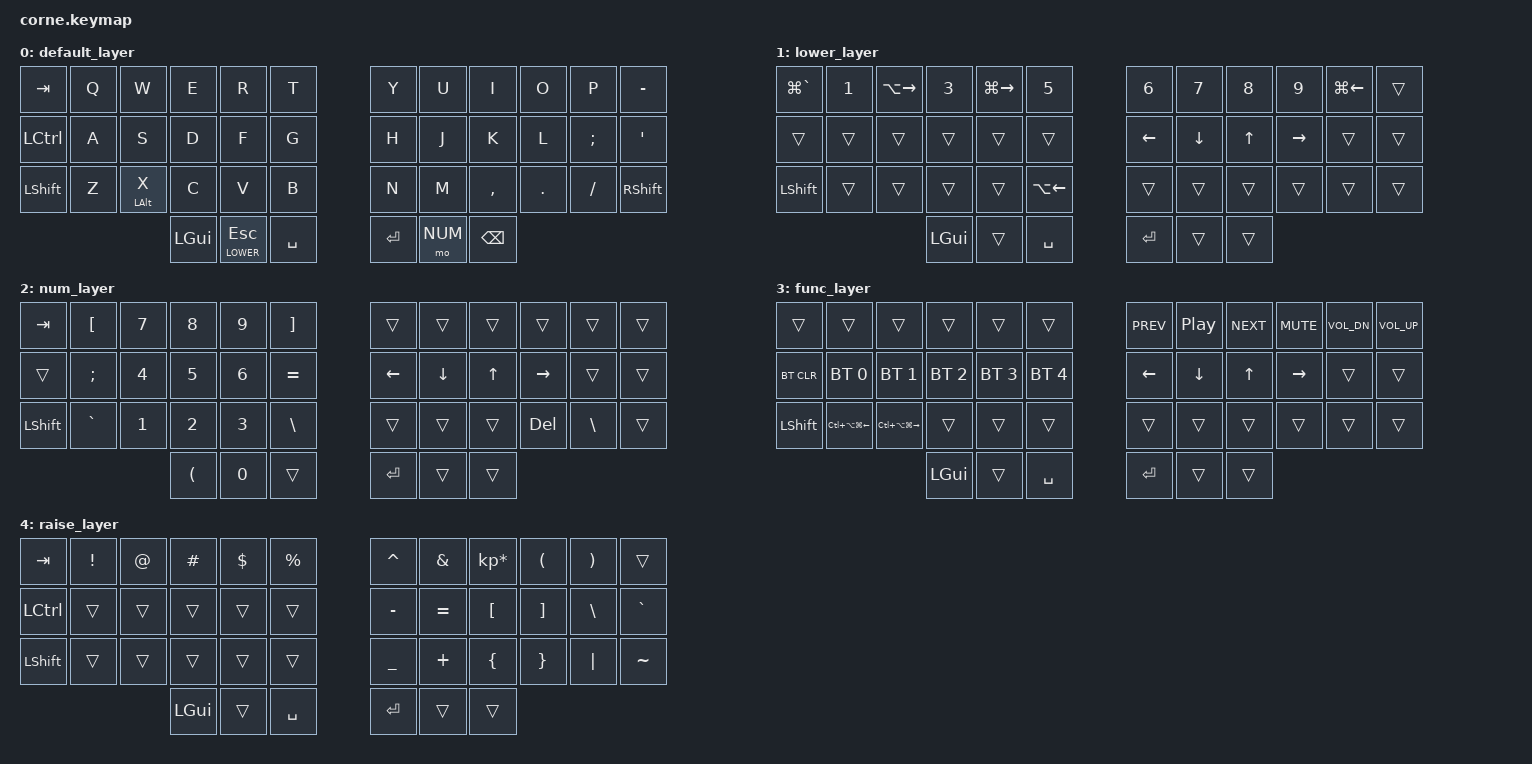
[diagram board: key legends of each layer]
/*
 * Copyright (c) 2020 The ZMK Contributors
 *
 * SPDX-License-Identifier: MIT
 */

#include <behaviors.dtsi>
#include <dt-bindings/zmk/keys.h>
#include <dt-bindings/zmk/bt.h>

#define LOWER 1
#define NUM 2
#define FUNC 3
#define RAISE 4 // RAISE currently unused

/ {
        conditional_layers {
                compatible = "zmk,conditional-layers";
                tri_layer {
                        if-layers = <1 2>;
                        then-layer = <3>;
                };
        };

        keymap {
                compatible = "zmk,keymap";

                default_layer {
// -----------------------------------------------------------------------------------------
// |  TAB |  Q  |  W  |  E  |  R  |  T  |   |  Y  |  U   |  I  |  O  |  P  |  -   |
// | CTRL |  A  |  S  |  D  |  F  |  G  |   |  H  |  J   |  K  |  L  |  ;  |  '   |
// | SHFT |  Z  |ALT/X|  C  |  V  |  B  |   |  N  |  M   |  ,  |  .  |  /  | ESC  |
//                    | GUI | LWR | SPC |   | ENT | RSE  | ALT |
                        bindings = <
   &kp TAB       &kp Q         &kp W         &kp E         &kp R         &kp T         &kp Y         &kp U         &kp I         &kp O         &kp P         &kp MINUS     
   &kp LCTRL     &kp A         &kp S         &kp D         &kp F         &kp G         &kp H         &kp J         &kp K         &kp L         &kp SEMI      &kp SQT       
   &kp LSHFT     &kp Z         &mt LALT X    &kp C         &kp V         &kp B         &kp N         &kp M         &kp COMMA     &kp DOT       &kp FSLH      &kp RSHFT     
                                             &kp LGUI      &lt LOWER ESC &kp SPACE     &kp RET       &mo NUM       &kp BSPC      
                        >;
                };
                lower_layer {
// -----------------------------------------------------------------------------------------
// |LG+GRV|  1  |VIM_W|  3  |VIM_$|  5  |   |  6  |  7  |  8  |  9  |VIM_0|      |
// |      |     |     |     |     |     |   | LFT | DWN |  UP | RGT |     |      |
// | SHFT |     |     |     |     |VIM_B|   |     |     |     |     |     |      |
//                    | GUI |     | SPC |   | ENT |     | ALT |
                        bindings = <
   &kp LG(GRAVE) &kp N1    &kp LA(RIGHT) &kp N3     &kp LG(RIGHT) &kp N5        &kp N6       &kp N7     &kp N8       &kp N9       &kp LG(LEFT) &trans
   &trans        &trans    &trans        &trans     &trans        &trans        &kp LEFT     &kp DOWN   &kp UP       &kp RIGHT    &trans       &trans
   &kp LSHFT     &trans    &trans        &trans     &trans        &kp LA(LEFT)  &trans       &trans     &trans       &trans       &trans       &trans
                                         &kp LGUI   &trans        &kp SPACE     &kp RET      &trans     &trans
                        >;
                };

                num_layer {
// -----------------------------------------------------------------------------------------
// |  TAB |  [  |  7  |  8  |  9  |  ]  |||||     |     |     |     |     |      |
// | CTRL |  ;  |  4  |  5  |  6  |  =  ||||| LFT | DWN |  UP | RGT |     |      |
// | SHFT |  `  |  1  |  2  |  3  |  \  |||||     |     |     | DEL |  \  |      |
//                    |  (  |  0  |  -  ||||| ENT |     |     |
                        bindings = <
   &kp TAB    &kp LBKT  &kp N7    &kp N8      &kp N9    &kp RBKT   /**/    &trans        &trans     &trans    &trans     &trans    &trans
   &trans     &kp SEMI  &kp N4    &kp N5      &kp N6    &kp EQUAL  /**/    &kp LEFT      &kp DOWN   &kp UP    &kp RIGHT  &trans    &trans
   &kp LSHFT  &kp GRAVE &kp N1    &kp N2      &kp N3    &kp BSLH   /**/    &trans        &trans     &trans    &kp DEL    &kp BSLH  &trans
                                  &kp LPAR    &kp N0    &trans     /**/    &kp RET       &trans     &trans
                        >;
                };

                func_layer {
// -----------------------------------------------------------------------------------------
// |      |     |     |     |     |     |   | PREV|PAUSE| NEXT| MUTE|VOLDN| VOLUP|
// | BTCLR| BT1 | BT2 | BT3 | BT4 | BT5 |   | LFT | DWN |  UP | RGT |     |      |
// | SHFT |     |     |     |     |     |   |     |     |     |     |     |      |
//                    | GUI |     | SPC |   | ENT |     | ALT |
                        bindings = <
   &trans       &trans       &trans        &trans        &trans        &trans        &kp C_PREV   &kp C_PP   &kp C_NEXT &kp C_MUTE &kp C_VOL_DN &kp C_VOL_UP
   &bt BT_CLR   &bt BT_SEL 0 &bt BT_SEL 1  &bt BT_SEL 2  &bt BT_SEL 3  &bt BT_SEL 4  &kp LEFT     &kp DOWN   &kp UP     &kp RIGHT  &trans       &trans
   &kp LSHFT    &kp LC(LA(LG(LEFT)))       &kp LC(LA(LG(RIGHT)))        &trans        &trans        &trans        &trans       &trans     &trans     &trans     &trans       &trans
                                           &kp LGUI      &trans        &kp SPACE     &kp RET      &trans     &trans
                        >;
                };

                raise_layer {
// -----------------------------------------------------------------------------------------
// |  TAB |  !  |  @  |  #  |  $  |  %  |   |  ^  |  &  |  *  |  (  |  )  |      |
// | CTRL |     |     |     |     |     |   |  -  |  =  |  [  |  ]  |  \  |  `   |
// | SHFT |     |     |     |     |     |   |  _  |  +  |  {  |  }  | "|" |  ~   |
//                    | GUI |     | SPC |   | ENT |     | ALT |
                        bindings = <
   &kp  TAB  &kp EXCL &kp AT &kp HASH &kp DLLR &kp PRCNT   &kp CARET &kp AMPS  &kp KP_MULTIPLY &kp LPAR &kp RPAR &trans
   &kp LCTRL &trans   &trans &trans   &trans   &trans      &kp MINUS &kp EQUAL &kp LBKT        &kp RBKT &kp BSLH &kp GRAVE
   &kp LSHFT &trans   &trans &trans   &trans   &trans      &kp UNDER &kp PLUS  &kp LBRC        &kp RBRC &kp PIPE &kp TILDE
                             &kp LGUI &trans   &kp SPACE   &kp RET   &trans    &trans
                        >;
                };

        };
};

// Vimscript to try autoformatting lines
// s/\(&\)\([^&]\+\) \+\([^&]\+\)\? */\=submatch(1) . submatch(2) . ' ' . submatch(3) . repeat(' ', 13 - (strlen(submatch(1)) + strlen(submatch(2)) + strlen(submatch(3))))/gc
